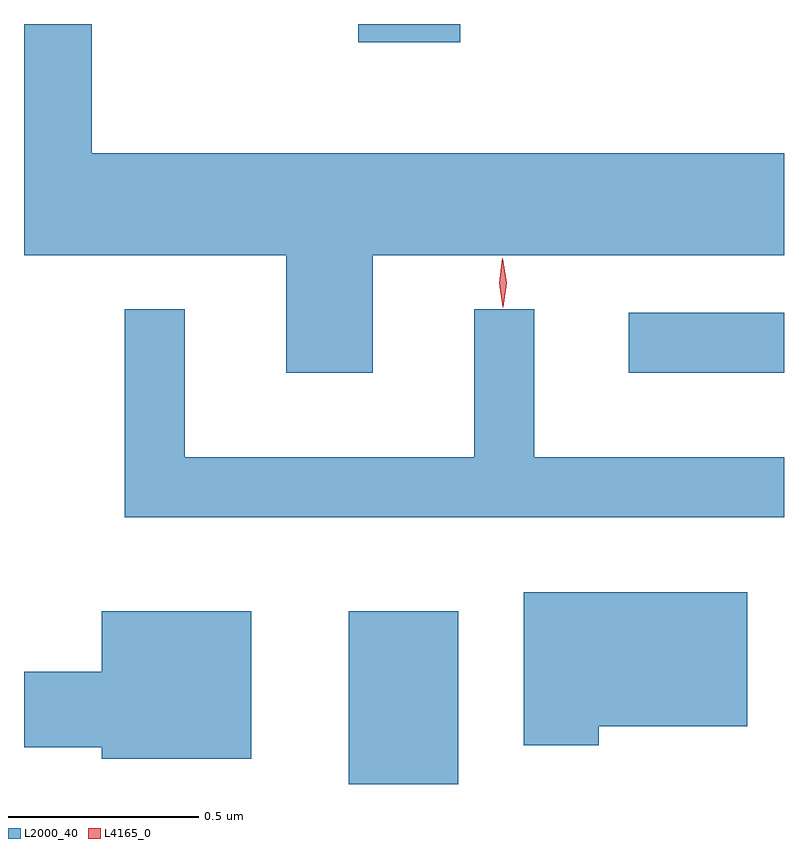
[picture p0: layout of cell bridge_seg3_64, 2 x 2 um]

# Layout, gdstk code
import gdstk
lib = gdstk.Library(unit=1e-6, precision=1e-09)
def R(c, l, rs):  # rectangles x0, y0, x1, y1
    for r in rs: c.add(gdstk.rectangle(r[:2], r[2:], *l))
def P(c, l, *ps):  # polygons
    for p in ps: c.add(gdstk.Polygon(p, *l))
L2000_40 = (2000, 40)
L4165_0 = (4165, 0)

bridge_seg3_64 = lib.new_cell('bridge_seg3_64')
R(bridge_seg3_64, L2000_40, [(1127.256,1171.244,1127.544,1171.699), (1127.993,1172.326,1128.401,1172.484), (1127.281,1173.196,1127.549,1173.244)])
P(bridge_seg3_64, L2000_40, [(1127.319,1172.636),(1128.401,1172.636),(1128.401,1172.904),(1126.579,1172.904),(1126.579,1173.244),(1126.401,1173.244),(1126.401,1172.636),(1127.091,1172.636),(1127.091,1172.326),(1127.319,1172.326)],
  [(1128.401,1172.104),(1127.744,1172.104),(1127.744,1172.493),(1127.586,1172.493),(1127.586,1172.104),(1126.824,1172.104),(1126.824,1172.493),(1126.666,1172.493),(1126.666,1171.946),(1128.401,1171.946)],
  [(1127.914,1171.396),(1128.304,1171.396),(1128.304,1171.749),(1127.716,1171.749),(1127.716,1171.346),(1127.914,1171.346)],
  [(1126.999,1171.699),(1126.606,1171.699),(1126.606,1171.539),(1126.401,1171.539),(1126.401,1171.341),(1126.606,1171.341),(1126.606,1171.311),(1126.999,1171.311)])
P(bridge_seg3_64, L4165_0, [(1127.661,1172.498),(1127.661,1172.498),(1127.651,1172.562),(1127.66,1172.627),(1127.661,1172.627),(1127.661,1172.627),(1127.671,1172.562),(1127.662,1172.498)])

lib.write_gds('bridge_seg3_64.gds')
